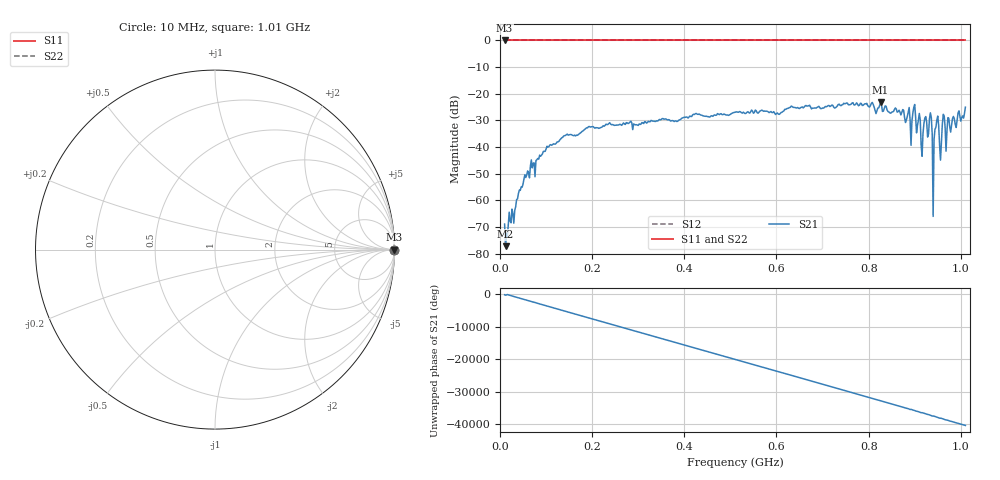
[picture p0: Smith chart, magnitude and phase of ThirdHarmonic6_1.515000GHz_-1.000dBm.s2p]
! 8/16/2025 5:51:51 PM
! C:\ANRITSUVNA\TEMP\TEMP.S2P
! CHANNEL.1
! TR.MEASUREMENT
! RAW.DATA
! RF.CORRECTION.OFF
! AVERAGING.OFF
! IF.BANDWIDTH: 5KHZ
! SWEEPTYPE:  FREQ.SWEEP(Linear)
! Reference Plane Port Info
! PORT:  PORT1  PORT2
! DISTANCE:  0  m  0  m
! TIME:  0  s  0  s
! PHASE.OFFSET:  0  deg.  0  deg.
! LOSS:  0  dB  0  dB
! REF.LOSS:  0  dB  0  dB
! REF.FREQ:  0  Hz  0  Hz
! Power Info
! POWER:  -20  dBm  -20  dBm
! EFF.POWER:  -20  dBm  -20  dBm
! SOURCE.ATTEN:  0  dB  0  dB
! TEST.ATTEN:  0  dB  0  dB
# GHZ S RI R 50.0
! FREQ.GHZ  S11RE  S11IM  S21RE  S21IM  S12RE  S12IM  S22RE  S22IM
!; PortSelection: Port_12
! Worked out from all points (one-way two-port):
!   501 points, 10 MHz to 1.01 GHz, reference 50 ohm
!   highest |S21| = -23.13 dB at 826 MHz (marker M1); lowest = -77.2 dB at 12 MHz (marker M2)
!   lowest |S11| = 0.0 dB at 10 MHz (marker M3)
!   |S11| at or under -10 dB: nowhere
!   |S22| runs from 0.0 to 0.0 dB; largest |S21 - S12| = 1.1
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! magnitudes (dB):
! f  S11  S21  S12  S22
! 10 MHz  0.0  -69.0  0.0  0.0
! 12 MHz  0.0  -77.2  0.0  0.0
! 70 MHz  0.0  -47.8  0.0  0.0
! 106 MHz  0.0  -39.9  0.0  0.0
! 178 MHz  0.0  -34.2  0.0  0.0
! 344 MHz  0.0  -30.0  0.0  0.0
! 510 MHz  0.0  -27.0  0.0  0.0
! 678 MHz  0.0  -25.4  0.0  0.0
! 826 MHz  0.0  -23.1  0.0  0.0
! 844 MHz  0.0  -26.9  0.0  0.0
! 892 MHz  0.0  -39.4  0.0  0.0
! 898 MHz  0.0  -25.1  0.0  0.0
! 916 MHz  0.0  -43.5  0.0  0.0
! 922 MHz  0.0  -29.1  0.0  0.0
! 934 MHz  0.0  -27.2  0.0  0.0
! 936 MHz  0.0  -28.9  0.0  0.0
! 942 MHz  0.0  -37.1  0.0  0.0
! 948 MHz  0.0  -29.9  0.0  0.0
! 956 MHz  0.0  -44.9  0.0  0.0
! 962 MHz  0.0  -27.7  0.0  0.0
! 972 MHz  0.0  -29.0  0.0  0.0
! 1.01 GHz  0.0  -25.1  0.0  0.0
